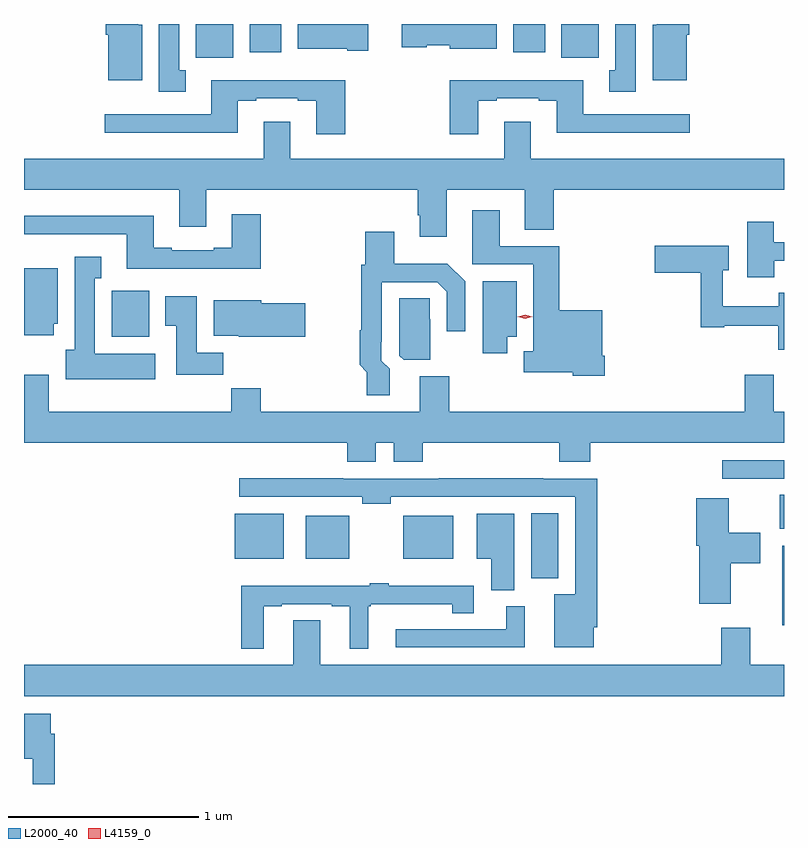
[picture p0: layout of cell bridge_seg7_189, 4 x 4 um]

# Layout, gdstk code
import gdstk
lib = gdstk.Library(unit=1e-6, precision=1e-09)
def R(c, l, rs):  # rectangles x0, y0, x1, y1
    for r in rs: c.add(gdstk.rectangle(r[:2], r[2:], *l))
def P(c, l, *ps):  # polygons
    for p in ps: c.add(gdstk.Polygon(p, *l))
L2000_40 = (2000, 40)
L4159_0 = (4159, 0)

bridge_seg7_189 = lib.new_cell('bridge_seg7_189')
R(bridge_seg7_189, L2000_40, [(401.771,1015.641,401.779,1016.059), (400.448,1015.889,400.591,1016.231), (398.888,1015.991,399.145,1016.227), (399.263,1015.991,399.49,1016.218), (399.776,1015.991,400.039,1016.218), (401.756,1016.148,401.779,1016.327), (401.454,1016.412,401.779,1016.508), (398.24,1017.158,398.437,1017.4), (398.684,1018.628,398.881,1018.805), (400.607,1018.628,400.804,1018.805), (398.966,1018.656,399.133,1018.805), (400.355,1018.656,400.522,1018.805)])
P(bridge_seg7_189, L2000_40, [(400.267,1018.805),(399.768,1018.805),(399.768,1018.682),(399.9,1018.682),(399.9,1018.694),(400.02,1018.694),(400.02,1018.676),(400.267,1018.676)],
  [(398.629,1018.562),(398.596,1018.562),(398.596,1018.805),(398.489,1018.805),(398.489,1018.449),(398.629,1018.449)],
  [(400.999,1018.805),(400.892,1018.805),(400.892,1018.562),(400.859,1018.562),(400.859,1018.449),(400.999,1018.449)],
  [(398.401,1018.8),(398.38,1018.8),(398.38,1018.805),(398.21,1018.805),(398.21,1018.748),(398.222,1018.748),(398.222,1018.508),(398.401,1018.508)],
  [(399.592,1018.805),(399.221,1018.805),(399.221,1018.676),(399.479,1018.676),(399.479,1018.664),(399.592,1018.664)],
  [(401.266,1018.748),(401.279,1018.748),(401.279,1018.805),(401.108,1018.805),(401.108,1018.8),(401.087,1018.8),(401.087,1018.508),(401.266,1018.508)],
  [(399.47,1018.51),(398.765,1018.51),(398.765,1018.329),(398.205,1018.329),(398.205,1018.232),(398.905,1018.232),(398.905,1018.401),(399.001,1018.401),(399.001,1018.413),(399.221,1018.413),(399.221,1018.401),(399.317,1018.401),(399.317,1018.224),(399.47,1018.224)],
  [(400.171,1018.401),(400.267,1018.401),(400.267,1018.413),(400.487,1018.413),(400.487,1018.401),(400.583,1018.401),(400.583,1018.232),(401.284,1018.232),(401.284,1018.329),(400.723,1018.329),(400.723,1018.51),(400.019,1018.51),(400.019,1018.224),(400.171,1018.224)],
  [(400.003,1017.932),(400.415,1017.932),(400.415,1017.721),(400.568,1017.721),(400.568,1017.932),(401.779,1017.932),(401.779,1018.096),(400.447,1018.096),(400.447,1018.291),(400.307,1018.291),(400.307,1018.096),(399.181,1018.096),(399.181,1018.291),(399.041,1018.291),(399.041,1018.096),(397.779,1018.096),(397.779,1017.932),(398.597,1017.932),(398.597,1017.738),(398.737,1017.738),(398.737,1017.932),(399.851,1017.932),(399.851,1017.799),(399.863,1017.799),(399.863,1017.684),(400.003,1017.684)],
  [(400.835,1017.058),(400.822,1017.058),(400.822,1017.298),(400.595,1017.298),(400.595,1017.636),(400.282,1017.636),(400.282,1017.826),(400.139,1017.826),(400.139,1017.54),(400.46,1017.54),(400.46,1017.082),(400.408,1017.082),(400.408,1016.972),(400.668,1016.972),(400.668,1016.954),(400.835,1016.954)],
  [(399.026,1017.805),(398.873,1017.805),(398.873,1017.628),(398.777,1017.628),(398.777,1017.615),(398.557,1017.615),(398.557,1017.628),(398.461,1017.628),(398.461,1017.796),(397.779,1017.796),(397.779,1017.699),(398.321,1017.699),(398.321,1017.518),(399.026,1017.518)],
  [(401.728,1017.558),(401.779,1017.558),(401.779,1017.657),(401.725,1017.657),(401.725,1017.763),(401.585,1017.763),(401.585,1017.473),(401.728,1017.473)],
  [(399.703,1016.99),(399.66,1017.033),(399.66,1017.133),(399.663,1017.133),(399.663,1017.447),(399.954,1017.447),(400.005,1017.396),(400.005,1017.189),(400.101,1017.189),(400.101,1017.45),(400.007,1017.544),(399.727,1017.544),(399.727,1017.712),(399.575,1017.712),(399.575,1017.537),(399.555,1017.537),(399.555,1017.194),(399.545,1017.194),(399.545,1017.012),(399.583,1016.973),(399.583,1016.85),(399.703,1016.85)],
  [(401.779,1017.391),(401.752,1017.391),(401.752,1017.319),(401.457,1017.319),(401.457,1017.509),(401.488,1017.509),(401.488,1017.639),(401.1,1017.639),(401.1,1017.497),(401.341,1017.497),(401.341,1017.21),(401.464,1017.21),(401.464,1017.217),(401.75,1017.217),(401.75,1017.09),(401.779,1017.09)],
  [(398.47,1017.07),(398.152,1017.07),(398.152,1017.467),(398.185,1017.467),(398.185,1017.58),(398.045,1017.58),(398.045,1017.09),(398,1017.09),(398,1016.936),(398.47,1016.936)],
  [(397.936,1017.228),(397.957,1017.228),(397.957,1017.52),(397.779,1017.52),(397.779,1017.168),(397.936,1017.168)],
  [(400.323,1017.158),(400.372,1017.158),(400.372,1017.451),(400.193,1017.451),(400.193,1017.071),(400.323,1017.071)],
  [(398.828,1017.076),(398.689,1017.076),(398.689,1017.373),(398.522,1017.373),(398.522,1017.217),(398.579,1017.217),(398.579,1016.958),(398.828,1016.958)],
  [(399.916,1017.251),(399.915,1017.251),(399.915,1017.362),(399.753,1017.362),(399.753,1017.06),(399.777,1017.037),(399.916,1017.037)],
  [(399.259,1017.335),(399.028,1017.335),(399.028,1017.352),(398.777,1017.352),(398.777,1017.164),(398.91,1017.164),(398.91,1017.158),(399.259,1017.158)],
  [(399.631,1016.6),(399.725,1016.6),(399.725,1016.501),(399.878,1016.501),(399.878,1016.6),(400.595,1016.6),(400.595,1016.501),(400.76,1016.501),(400.76,1016.6),(401.779,1016.6),(401.779,1016.764),(401.725,1016.764),(401.725,1016.959),(401.573,1016.959),(401.573,1016.764),(400.016,1016.764),(400.016,1016.952),(399.863,1016.952),(399.863,1016.764),(399.026,1016.764),(399.026,1016.888),(398.869,1016.888),(398.869,1016.764),(397.909,1016.764),(397.909,1016.959),(397.779,1016.959),(397.779,1016.6),(399.479,1016.6),(399.479,1016.501),(399.631,1016.501)],
  [(400.777,1015.63),(400.796,1015.63),(400.796,1016.412),(400.511,1016.412),(400.511,1016.414),(399.961,1016.414),(399.961,1016.412),(399.458,1016.412),(399.458,1016.414),(398.913,1016.414),(398.913,1016.316),(399.558,1016.316),(399.558,1016.281),(399.708,1016.281),(399.708,1016.316),(400.68,1016.316),(400.68,1015.804),(400.571,1015.804),(400.571,1015.526),(400.777,1015.526)],
  [(401.5,1015.966),(401.653,1015.966),(401.653,1016.128),(401.488,1016.128),(401.488,1016.308),(401.318,1016.308),(401.318,1016.059),(401.333,1016.059),(401.333,1015.755),(401.5,1015.755)],
  [(400.36,1016.227),(400.163,1016.227),(400.163,1015.991),(400.238,1015.991),(400.238,1015.825),(400.36,1015.825)],
  [(399.04,1015.74),(399.136,1015.74),(399.136,1015.752),(399.398,1015.752),(399.398,1015.74),(399.494,1015.74),(399.494,1015.517),(399.592,1015.517),(399.592,1015.74),(399.604,1015.74),(399.604,1015.751),(400.034,1015.751),(400.034,1015.705),(400.147,1015.705),(400.147,1015.849),(399.698,1015.849),(399.698,1015.861),(399.598,1015.861),(399.598,1015.849),(398.923,1015.849),(398.923,1015.517),(399.04,1015.517)],
  [(400.414,1015.74),(400.316,1015.74),(400.316,1015.62),(399.735,1015.62),(399.735,1015.524),(400.414,1015.524)],
  [(401.779,1015.432),(401.602,1015.432),(401.602,1015.627),(401.45,1015.627),(401.45,1015.432),(399.337,1015.432),(399.337,1015.667),(399.197,1015.667),(399.197,1015.432),(397.779,1015.432),(397.779,1015.268),(401.779,1015.268)],
  [(397.94,1015.07),(397.921,1015.07),(397.921,1015.174),(397.779,1015.174),(397.779,1014.938),(397.824,1014.938),(397.824,1014.805),(397.94,1014.805)])
P(bridge_seg7_189, L4159_0, [(400.416,1017.254),(400.377,1017.264),(400.377,1017.264),(400.377,1017.265),(400.416,1017.274),(400.455,1017.264),(400.455,1017.264),(400.455,1017.264)])

lib.write_gds('bridge_seg7_189.gds')
